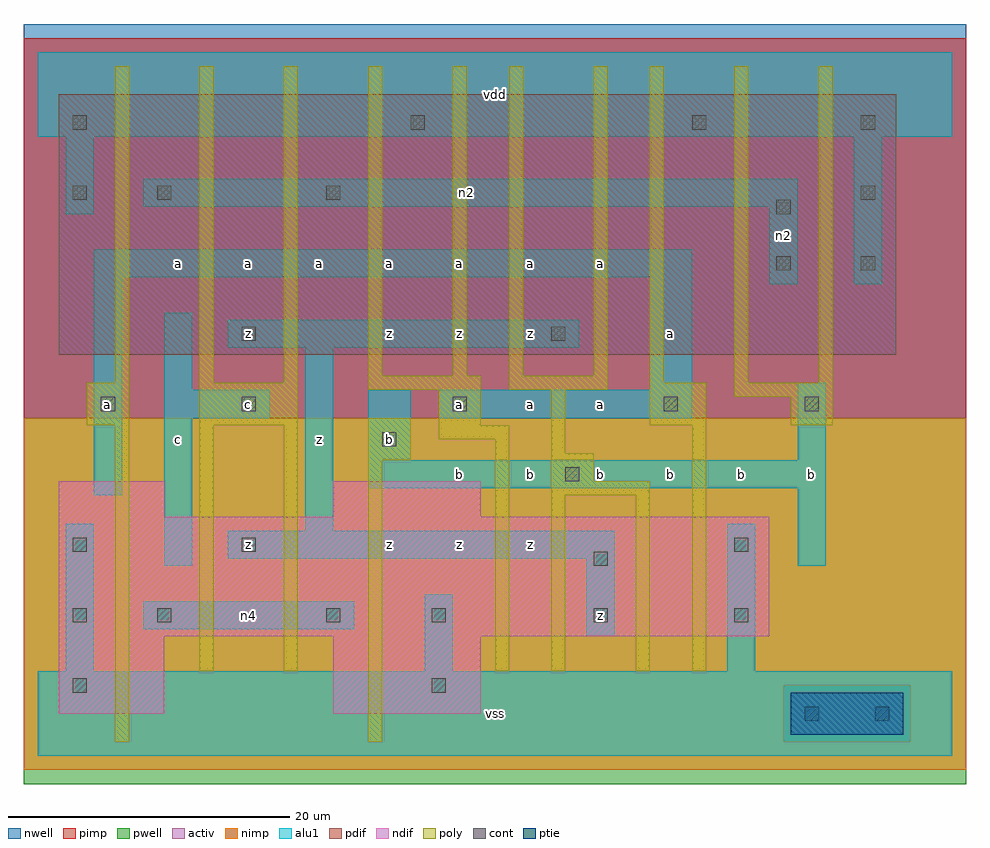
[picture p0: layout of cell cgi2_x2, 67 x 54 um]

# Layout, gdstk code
import gdstk
lib = gdstk.Library(unit=1e-6, precision=1e-09)
def R(c, l, rs):  # rectangles x0, y0, x1, y1
    for r in rs: c.add(gdstk.rectangle(r[:2], r[2:], *l))
def A(c, l, x, y, w, h, nx, ny, dx, dy):  # array of equal rectangles
    R(c, l, [(x+i*dx, y+j*dy, x+i*dx+w, y+j*dy+h) for i in range(nx) for j in range(ny)])
ndif = (3, 0)
pdif = (4, 0)
ptie = (6, 0)
cont = (25, 0)
pwell = (41, 0)
nwell = (42, 0)
activ = (43, 0)
pimp = (44, 0)
nimp = (45, 0)
poly = (46, 0)
alu1 = (49, 0)

cgi2_x2 = lib.new_cell('cgi2_x2')
R(cgi2_x2, ndif, [(1.5,3,9,8.5), (21,3,31.5,8.5), (1.5,8.5,52,17), (1.5,17,9,19.5), (21,17,31.5,19.5)])
R(cgi2_x2, pdif, [(1.5,28.5,61,47)])
R(cgi2_x2, ptie, [(53.5,1.5,61.5,4.5)])
A(cgi2_x2, cont, 2.5, 4.5, 1, 1, 1, 3, 0, 5)
A(cgi2_x2, cont, 14.5, 24.5, 1, 1, 3, 1, 15, 0)
A(cgi2_x2, cont, 58.5, 34.5, 1, 1, 1, 3, 0, 5)
R(cgi2_x2, cont, [(54.5,2.5,55.5,3.5), (59.5,2.5,60.5,3.5), (28,4.5,29,5.5), (8.5,9.5,9.5,10.5), (20.5,9.5,21.5,10.5), (28,9.5,29,10.5), (39.5,9.5,40.5,10.5), (49.5,9.5,50.5,10.5), (39.5,13.5,40.5,14.5), (14.5,14.5,15.5,15.5), (49.5,14.5,50.5,15.5), (37.5,19.5,38.5,20.5), (24.5,22,25.5,23), (4.5,24.5,5.5,25.5), (54.5,24.5,55.5,25.5), (14.5,29.5,15.5,30.5), (36.5,29.5,37.5,30.5), (52.5,34.5,53.5,35.5), (52.5,38.5,53.5,39.5), (2.5,39.5,3.5,40.5), (8.5,39.5,9.5,40.5), (20.5,39.5,21.5,40.5), (2.5,44.5,3.5,45.5), (26.5,44.5,27.5,45.5), (46.5,44.5,47.5,45.5)])
R(cgi2_x2, pwell, [(-1,-2,66,24)])
R(cgi2_x2, nwell, [(-1,24,66,52)])
R(cgi2_x2, activ, [(53.5,1.5,61.5,4.5), (1.5,3,9,8.5), (21,3,31.5,8.5), (1.5,8.5,52,17), (1.5,17,9,19.5), (21,17,31.5,19.5), (1.5,28.5,61,47)])
R(cgi2_x2, pimp, [(53,1,62,5), (-1,24,66,51)])
R(cgi2_x2, nimp, [(-1,-1,66,1), (-1,1,53,5), (62,1,66,5), (-1,5,66,24)])
A(cgi2_x2, poly, 5.5, 26.5, 1, 22.5, 3, 1, 6, 0)
A(cgi2_x2, poly, 43.5, 26.5, 1, 22.5, 3, 1, 6, 0)
R(cgi2_x2, poly, [(5.5,1,6.5,23.5), (23.5,1,24.5,21), (11.5,6,12.5,23.5), (17.5,6,18.5,23.5), (32.5,6,33.5,22.5), (36.5,6,37.5,18.5), (42.5,6,43.5,18.5), (46.5,6,47.5,23.5), (36.5,18.5,43.5,19.5), (36.5,19.5,39.5,21.5), (23.5,21,26.5,24), (36.5,21.5,37.5,26), (28.5,22.5,33.5,23.5), (3.5,23.5,6.5,26.5), (11.5,23.5,18.5,26.5), (28.5,23.5,31.5,26), (43.5,23.5,47.5,26.5), (53.5,23.5,56.5,25.5), (49.5,25.5,56.5,26.5), (23.5,26,31.5,27), (33.5,26,40.5,27), (23.5,27,24.5,49), (29.5,27,30.5,49), (33.5,27,34.5,49), (39.5,27,40.5,49)])
R(cgi2_x2, alu1, [(0,0,65,6), (2,6,4,16.5), (27.5,6,29.5,11.5), (49,6,51,16.5), (39,8.5,41,14), (7.5,9,22.5,11), (9,13.5,11,24), (54,13.5,56,19), (13.5,14,41,16), (19,16,21,29), (4,18.5,6,34), (23.5,19,56,21), (23.5,21,26.5,26), (54,21,56,26.5), (9,24,16.5,26), (28.5,24,46.5,26), (9,26,11,31.5), (43.5,26,46.5,34), (13.5,29,38.5,31), (52,33.5,54,39), (58,33.5,60,44), (4,34,46.5,36), (2,38.5,4,44), (7.5,39,54,41), (0,44,65,50)])
cgi2_x2.add(gdstk.Label('a', (5,25), layer=49, texttype=0))
cgi2_x2.add(gdstk.Label('c', (10,22.5), layer=49, texttype=0))
cgi2_x2.add(gdstk.Label('a', (10,35), layer=49, texttype=0))
cgi2_x2.add(gdstk.Label('n4', (15,10), layer=49, texttype=0))
cgi2_x2.add(gdstk.Label('z', (15,15), layer=49, texttype=0))
cgi2_x2.add(gdstk.Label('z', (20,22.5), layer=49, texttype=0))
cgi2_x2.add(gdstk.Label('c', (15,25), layer=49, texttype=0))
cgi2_x2.add(gdstk.Label('z', (15,30), layer=49, texttype=0))
cgi2_x2.add(gdstk.Label('a', (15,35), layer=49, texttype=0))
cgi2_x2.add(gdstk.Label('a', (20,35), layer=49, texttype=0))
cgi2_x2.add(gdstk.Label('vss', (32.5,3), layer=49, texttype=0))
cgi2_x2.add(gdstk.Label('z', (25,15), layer=49, texttype=0))
cgi2_x2.add(gdstk.Label('z', (35,15), layer=49, texttype=0))
cgi2_x2.add(gdstk.Label('z', (30,15), layer=49, texttype=0))
cgi2_x2.add(gdstk.Label('b', (30,20), layer=49, texttype=0))
cgi2_x2.add(gdstk.Label('b', (35,20), layer=49, texttype=0))
cgi2_x2.add(gdstk.Label('b', (25,22.5), layer=49, texttype=0))
cgi2_x2.add(gdstk.Label('a', (35,25), layer=49, texttype=0))
cgi2_x2.add(gdstk.Label('a', (30,25), layer=49, texttype=0))
cgi2_x2.add(gdstk.Label('z', (35,30), layer=49, texttype=0))
cgi2_x2.add(gdstk.Label('z', (30,30), layer=49, texttype=0))
cgi2_x2.add(gdstk.Label('z', (25,30), layer=49, texttype=0))
cgi2_x2.add(gdstk.Label('a', (25,35), layer=49, texttype=0))
cgi2_x2.add(gdstk.Label('a', (30,35), layer=49, texttype=0))
cgi2_x2.add(gdstk.Label('a', (35,35), layer=49, texttype=0))
cgi2_x2.add(gdstk.Label('vdd', (32.5,47), layer=49, texttype=0))
cgi2_x2.add(gdstk.Label('z', (40,10), layer=49, texttype=0))
cgi2_x2.add(gdstk.Label('b', (50,20), layer=49, texttype=0))
cgi2_x2.add(gdstk.Label('b', (45,20), layer=49, texttype=0))
cgi2_x2.add(gdstk.Label('b', (40,20), layer=49, texttype=0))
cgi2_x2.add(gdstk.Label('a', (40,25), layer=49, texttype=0))
cgi2_x2.add(gdstk.Label('a', (45,30), layer=49, texttype=0))
cgi2_x2.add(gdstk.Label('a', (40,35), layer=49, texttype=0))
cgi2_x2.add(gdstk.Label('b', (55,20), layer=49, texttype=0))
cgi2_x2.add(gdstk.Label('n2', (53,37), layer=49, texttype=0))
cgi2_x2.add(gdstk.Label('n2', (30.5,40), layer=49, texttype=0))

lib.write_gds('cgi2_x2.gds')
